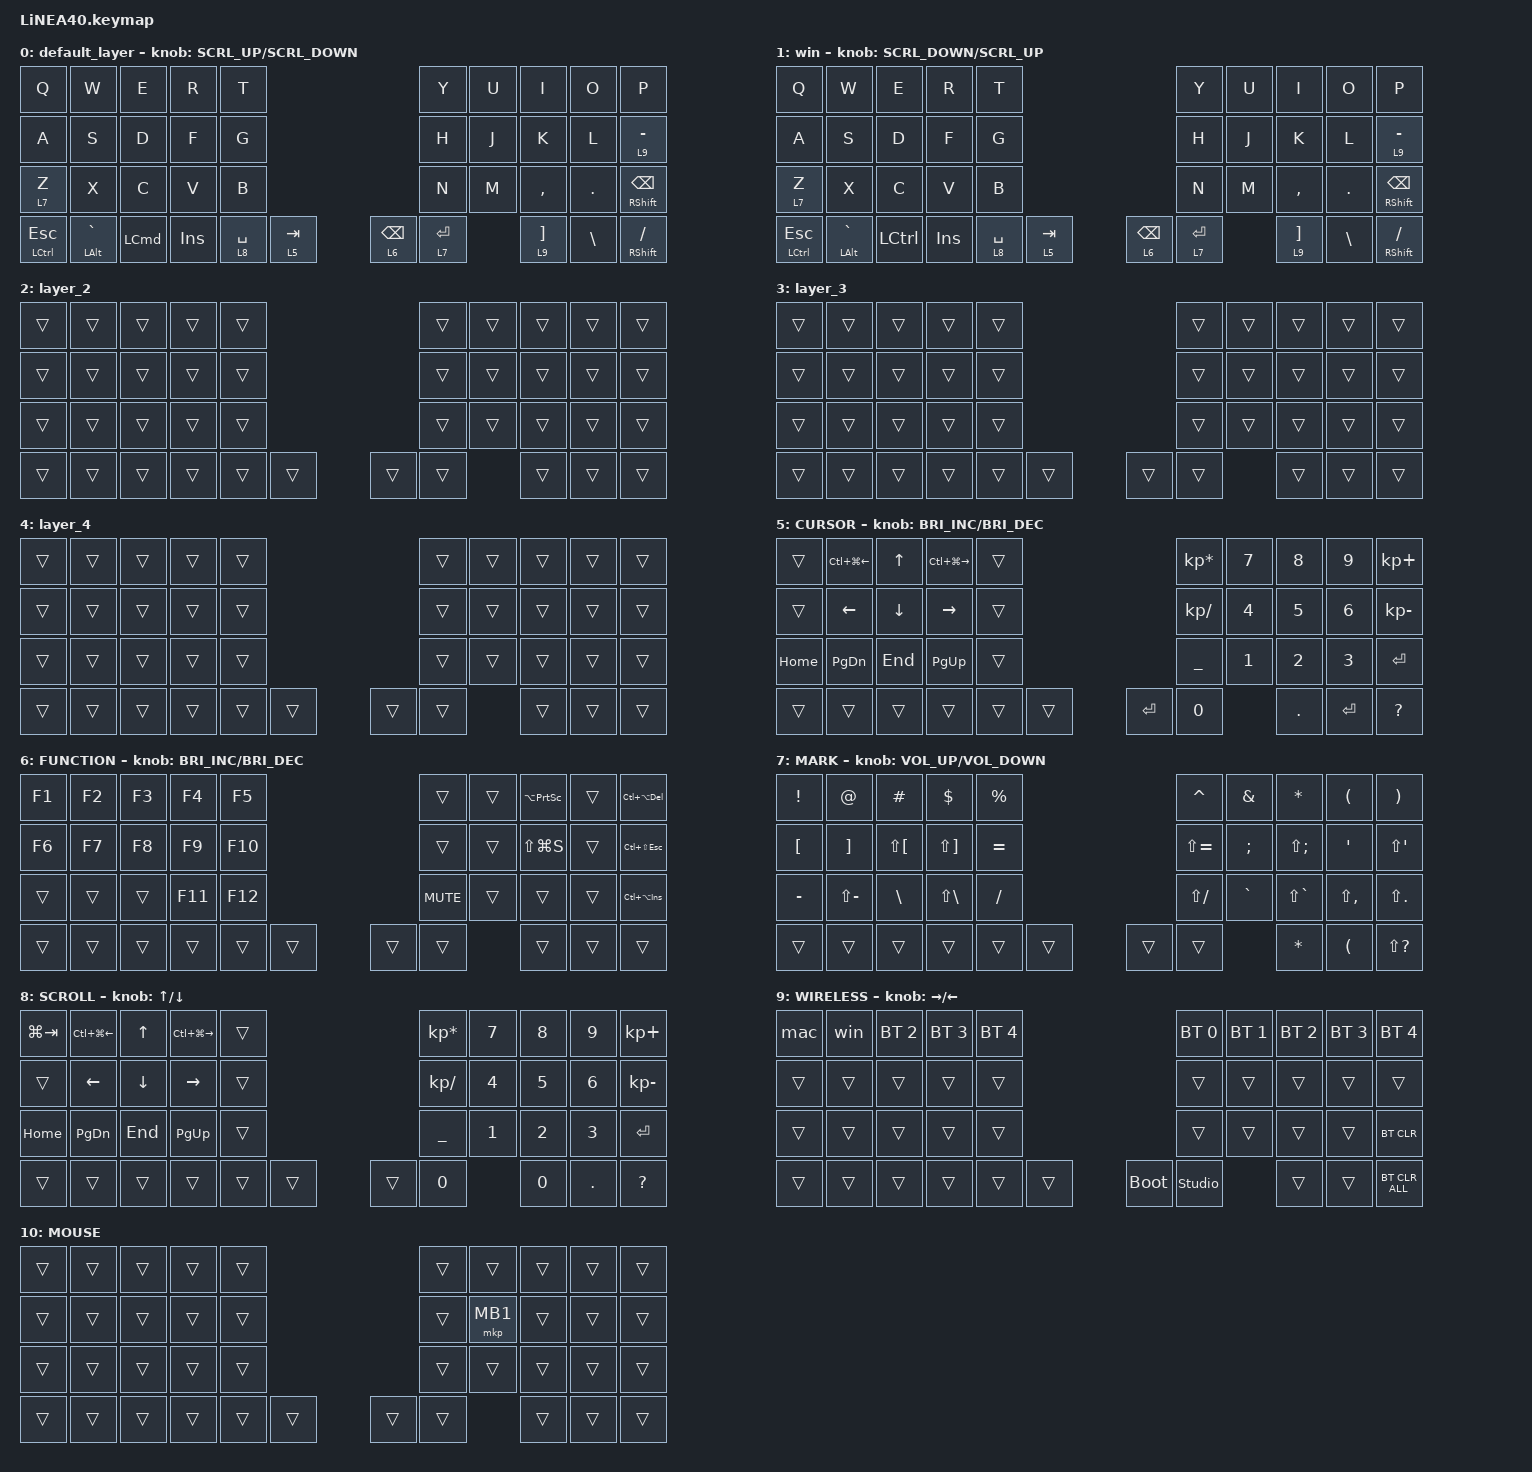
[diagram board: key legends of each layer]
#define ZMK_POINTING_DEFAULT_SCRL_VAL 120

#include <dt-bindings/zmk/input_transform.h>
#include <input/processors.dtsi>
#include <zephyr/dt-bindings/input/input-event-codes.h>
#include <behaviors.dtsi>
#include <dt-bindings/zmk/bt.h>
#include <dt-bindings/zmk/keys.h>
#include <dt-bindings/zmk/pointing.h>

#define MOUSE 10
#define MARK 7
#define CURSOR 5
#define FUNCTION 6
#define SCROLL 8
#define WIRELESS 9

//mouse cursol

&mmv {
    delay-ms = <5>;
    trigger-period-ms = <16>;
    time-to-max-speed-ms = <450>;
    acceleration-exponent = <1>;
};

//mouse scroll

&msc {
    delay-ms = <2>;
    trigger-period-ms = <1>;
    time-to-max-speed-ms = <100>;
    acceleration-exponent = <0>;
};

/ {
    input_processors {
        zip_wheel_scaler: zip_wheel_scaler {
            compatible = "zmk,input-processor-scaler";
            #input-processor-cells = <2>;
            type = <INPUT_EV_REL>;
            codes = <INPUT_REL_WHEEL>;
            track-remainders;
        };
    };
};

&msc_input_listener {
    speed_up {
        layers = <FUNCTION>;
        input-processors = <&zip_wheel_scaler 3 1>; //スクロールを3倍速にする
    };
};

&trackball_listener {
    scroller {
        layers = <SCROLL>;
        input-processors =
            <&zip_xy_transform INPUT_TRANSFORM_Y_INVERT>,
            //スクロール方向を逆転,,,,,,,,,,,,,,,,,,,,,,,,,,,,,,,,,,,,,,,,,,,,,,,,,,,,,,,,,,,,,,,,,,,,,,,,,,
            <&zip_xy_to_scroll_mapper>;
    };
};

/ {
    combos {
        compatible = "zmk,combos";

        PrevClick {
            bindings = <&mkp MB4>;
            key-positions = <7 8>;
        };

        ClickNext {
            bindings = <&mkp MB5>;
            key-positions = <6 7>;
        };

        MissionControl {
            bindings = <&kp LC(UP_ARROW)>;
            key-positions = <1 2 3>;
            layers = <0>;
        };

        cmdspace {
            bindings = <&kp LC(SPACE)>;
            key-positions = <12 13>;
            layers = <0>;
        };

        ctrlright {
            bindings = <&kp LC(RIGHT)>;
            key-positions = <3 2>;
            layers = <0>;
        };

        ctrlleft {
            bindings = <&kp LC(LEFT)>;
            key-positions = <2 1>;
            layers = <0>;
        };

        lounchpad {
            bindings = <&kp LC(LG(UP_ARROW))>;
            key-positions = <11 12 13>;
            layers = <0>;
        };

        henlan {
            bindings = <&kp LS(CLCK)>;
            key-positions = <12 13>;
            layers = <1>;
        };

        winscreen {
            bindings = <&kp LC(LG(RIGHT))>;
            key-positions = <3 2>;
            layers = <1>;
        };

        winscreenleft {
            bindings = <&kp LG(LC(LEFT))>;
            key-positions = <1 2>;
            layers = <1>;
        };

        Rclick {
            bindings = <&mkp MB2>;
            key-positions = <17 18>;
        };

        midclick {
            bindings = <&mkp MB3>;
            key-positions = <16 17>;
        };
    };

    behaviors {
        re_kp: sensor_rotate_kp {
            compatible = "zmk,behavior-sensor-rotate-var";
            #sensor-binding-cells = <2>;
            bindings = <&kp>, <&kp>;
        };

        mouse_scrl: mouse_wheel_scrl {
            compatible = "zmk,behavior-sensor-rotate-var";
            #sensor-binding-cells = <2>;
            bindings = <&inertial_scroll>, <&inertial_scroll>;
            // Only the press impulse matters; release does not cancel inertia.
            tap-ms = <5>;
        };
    };

    macros {
        mac: new_macro {
            compatible = "zmk,behavior-macro";
            #binding-cells = <0>;
            bindings = <&bt BT_SEL 0 &to 0>;
            label = "screen";
        };

        win: win {
            compatible = "zmk,behavior-macro";
            #binding-cells = <0>;
            bindings = <&bt BT_SEL 1 &to 1>;
            label = "WIN";
        };

        ipad: ipad {
            compatible = "zmk,behavior-macro";
            #binding-cells = <0>;
            bindings = <&bt BT_SEL 3 &to 0>;
            label = "IPAD";
        };
    };

    keymap {
        compatible = "zmk,keymap";

        default_layer {
            bindings = <
&kp Q          &kp W               &kp E     &kp R    &kp T                                      &kp Y        &kp U  &kp I                &kp O          &kp P
&kp A          &kp S               &kp D     &kp F    &kp G                                      &kp H        &kp J  &kp K                &kp L          &lt 9 MINUS
&lt 7 Z        &kp X               &kp C     &kp V    &kp B                                      &kp N        &kp M  &kp COMMA            &kp DOT        &mt RIGHT_SHIFT BACKSPACE
&mt LCTRL ESC  &mt LEFT_ALT GRAVE  &kp LCMD  &kp INS  &lt 8 SPACE  &lt 5 TAB    &lt 6 BACKSPACE  &lt 7 ENTER         &lt 9 RIGHT_BRACKET  &kp BACKSLASH  &mt RIGHT_SHIFT SLASH
            >;

            sensor-bindings = <&mouse_scrl SCRL_UP SCRL_DOWN>;
        };

        win {
            bindings = <
&kp Q          &kp W               &kp E             &kp R    &kp T                                      &kp Y        &kp U  &kp I                &kp O          &kp P
&kp A          &kp S               &kp D             &kp F    &kp G                                      &kp H        &kp J  &kp K                &kp L          &lt 9 MINUS
&lt 7 Z        &kp X               &kp C             &kp V    &kp B                                      &kp N        &kp M  &kp COMMA            &kp DOT        &mt RIGHT_SHIFT BACKSPACE
&mt LCTRL ESC  &mt LEFT_ALT GRAVE  &kp LEFT_CONTROL  &kp INS  &lt 8 SPACE  &lt 5 TAB    &lt 6 BACKSPACE  &lt 7 ENTER         &lt 9 RIGHT_BRACKET  &kp BACKSLASH  &mt RIGHT_SHIFT SLASH
            >;

            sensor-bindings = <&mouse_scrl SCRL_DOWN SCRL_UP>;
        };

        layer_2 {
            bindings = <
&trans  &trans  &trans  &trans  &trans                    &trans  &trans  &trans  &trans  &trans
&trans  &trans  &trans  &trans  &trans                    &trans  &trans  &trans  &trans  &trans
&trans  &trans  &trans  &trans  &trans                    &trans  &trans  &trans  &trans  &trans
&trans  &trans  &trans  &trans  &trans  &trans    &trans  &trans          &trans  &trans  &trans
            >;
        };

        layer_3 {
            bindings = <
&trans  &trans  &trans  &trans  &trans                    &trans  &trans  &trans  &trans  &trans
&trans  &trans  &trans  &trans  &trans                    &trans  &trans  &trans  &trans  &trans
&trans  &trans  &trans  &trans  &trans                    &trans  &trans  &trans  &trans  &trans
&trans  &trans  &trans  &trans  &trans  &trans    &trans  &trans          &trans  &trans  &trans
            >;
        };

        layer_4 {
            bindings = <
&trans  &trans  &trans  &trans  &trans                    &trans  &trans  &trans  &trans  &trans
&trans  &trans  &trans  &trans  &trans                    &trans  &trans  &trans  &trans  &trans
&trans  &trans  &trans  &trans  &trans                    &trans  &trans  &trans  &trans  &trans
&trans  &trans  &trans  &trans  &trans  &trans    &trans  &trans          &trans  &trans  &trans
            >;
        };

        CURSOR {
            bindings = <
&trans    &kp LC(LG(LEFT_ARROW))  &kp UP_ARROW  &kp LC(LG(RIGHT_ARROW))  &trans                       &kp KP_MULTIPLY  &kp NUMBER_7  &kp NUMBER_8  &kp NUMBER_9  &kp KP_PLUS
&trans    &kp LEFT_ARROW          &kp DOWN      &kp RIGHT_ARROW          &trans                       &kp KP_SLASH     &kp NUMBER_4  &kp NUMBER_5  &kp NUMBER_6  &kp KP_MINUS
&kp HOME  &kp PAGE_DOWN           &kp END       &kp PAGE_UP              &trans                       &kp UNDER        &kp NUMBER_1  &kp NUMBER_2  &kp NUMBER_3  &kp ENTER
&trans    &trans                  &trans        &trans                   &trans  &trans    &kp ENTER  &kp NUMBER_0                   &kp DOT       &kp ENTER     &kp QUESTION
            >;

            sensor-bindings = <&inc_dec_kp C_BRIGHTNESS_INC C_BRIGHTNESS_DEC>;
        };

        FUNCTION {
            bindings = <
&kp F1  &kp F2  &kp F3  &kp F4   &kp F5                     &trans      &trans  &kp LA(PRINTSCREEN)  &trans  &kp LC(LA(DELETE))
&kp F6  &kp F7  &kp F8  &kp F9   &kp F10                    &trans      &trans  &kp LS(LG(S))        &trans  &kp LC(LS(ESCAPE))
&trans  &trans  &trans  &kp F11  &kp F12                    &kp C_MUTE  &trans  &trans               &trans  &kp LC(LA(INS))
&trans  &trans  &trans  &trans   &trans   &trans    &trans  &trans              &trans               &trans  &trans
            >;

            sensor-bindings = <&re_kp C_BRIGHTNESS_INC C_BRIGHTNESS_DEC>;
        };

        MARK {
            bindings = <
&kp EXCLAMATION  &kp AT             &kp HASH           &kp DOLLAR             &kp PERCENT                                &kp CARET             &kp AMPERSAND        &kp ASTERISK           &kp LEFT_PARENTHESIS  &kp RIGHT_PARENTHESIS
&kp LBKT         &kp RIGHT_BRACKET  &kp LS(LBKT)       &kp LS(RIGHT_BRACKET)  &kp EQUAL                                  &kp LS(EQUAL)         &kp SEMICOLON        &kp LS(SEMICOLON)     &kp APOS              &kp LS(APOS)
&kp MINUS        &kp LS(MINUS)     &kp BACKSLASH      &kp LS(BACKSLASH)      &kp SLASH                                  &kp LS(SLASH)         &kp GRAVE            &kp LS(GRAVE)         &kp LS(COMMA)         &kp LS(DOT)
&trans                      &trans           &trans           &trans         &trans         &trans    &trans  &trans                       &kp ASTERISK           &kp LEFT_PARENTHESIS  &kp LS(QUESTION)
            >;

            sensor-bindings = <&re_kp C_VOLUME_UP C_VOLUME_DOWN>;
        };

        SCROLL {
            bindings = <
&kp LG(TAB)  &kp LC(LG(LEFT_ARROW))  &kp UP_ARROW  &kp LC(LG(RIGHT_ARROW))  &trans                    &kp KP_MULTIPLY  &kp NUMBER_7  &kp NUMBER_8  &kp NUMBER_9  &kp KP_PLUS
&trans       &kp LEFT_ARROW          &kp DOWN      &kp RIGHT_ARROW          &trans                    &kp KP_SLASH     &kp NUMBER_4  &kp NUMBER_5  &kp NUMBER_6  &kp KP_MINUS
&kp HOME     &kp PAGE_DOWN           &kp END       &kp PAGE_UP              &trans                    &kp UNDER        &kp NUMBER_1  &kp NUMBER_2  &kp NUMBER_3  &kp ENTER
&trans       &trans                  &trans        &trans                   &trans  &trans    &trans  &kp NUMBER_0                   &kp NUMBER_0  &kp DOT       &kp QUESTION
            >;

            sensor-bindings = <&inc_dec_kp UP_ARROW DOWN_ARROW>;
        };

        WIRELESS {
            bindings = <
&mac    &win    &bt BT_SEL 2  &bt BT_SEL 3  &bt BT_SEL 4                         &bt BT_SEL 0    &bt BT_SEL 1  &bt BT_SEL 2  &bt BT_SEL 3  &bt BT_SEL 4
&trans  &trans  &trans        &trans        &trans                               &trans          &trans        &trans        &trans        &trans
&trans  &trans  &trans        &trans        &trans                               &trans          &trans        &trans        &trans        &bt BT_CLR
&trans  &trans  &trans        &trans        &trans        &trans    &bootloader  &studio_unlock                &trans        &trans        &bt BT_CLR_ALL
            >;

            sensor-bindings = <&inc_dec_kp RIGHT_ARROW LEFT_ARROW>;
        };

        MOUSE {
            bindings = <
&trans  &trans  &trans  &trans  &trans                    &trans  &trans    &trans  &trans  &trans
&trans  &trans  &trans  &trans  &trans                    &trans  &mkp MB1  &trans  &trans  &trans
&trans  &trans  &trans  &trans  &trans                    &trans  &trans    &trans  &trans  &trans
&trans  &trans  &trans  &trans  &trans  &trans    &trans  &trans            &trans  &trans  &trans
            >;
        };
    };
};
